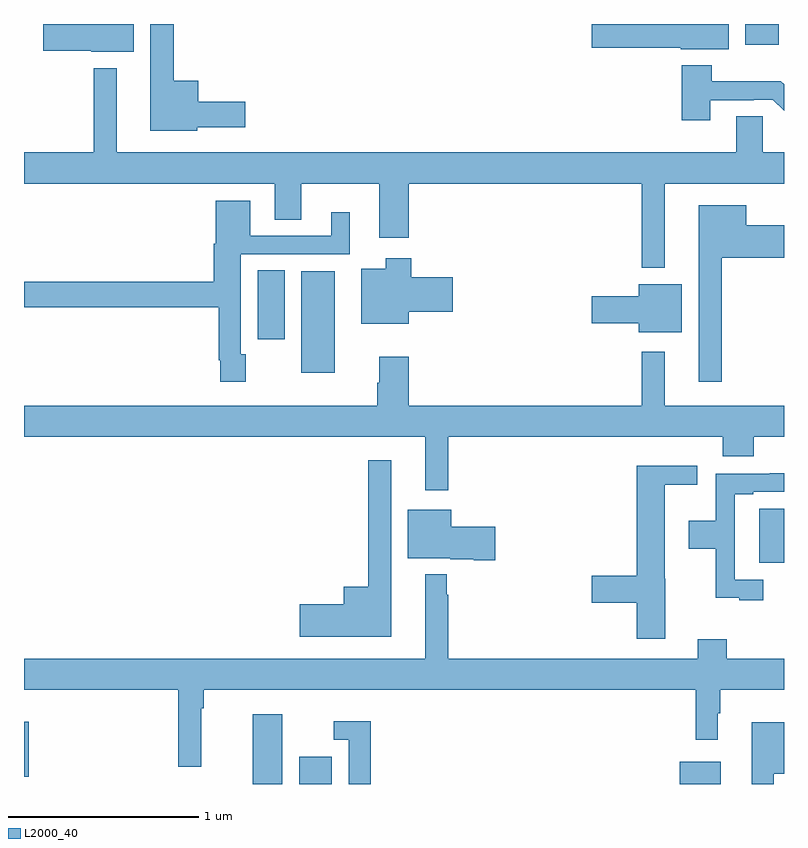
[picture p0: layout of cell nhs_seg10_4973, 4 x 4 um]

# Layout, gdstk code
import gdstk
lib = gdstk.Library(unit=1e-6, precision=1e-09)
def R(c, l, rs):  # rectangles x0, y0, x1, y1
    for r in rs: c.add(gdstk.rectangle(r[:2], r[2:], *l))
def P(c, l, *ps):  # polygons
    for p in ps: c.add(gdstk.Polygon(p, *l))
L2000_40 = (2000, 40)

nhs_seg10_4973 = lib.new_cell('nhs_seg10_4973')
R(nhs_seg10_4973, L2000_40, [(400.205,1286.5,400.36,1286.866), (400.448,1286.5,400.621,1286.644), (402.452,1286.5,402.667,1286.617), (399,1286.537,399.026,1286.827), (402.869,1287.665,403,1287.949), (400.46,1288.664,400.636,1289.2), (400.229,1288.842,400.372,1289.204), (402.795,1290.392,402.973,1290.5)])
P(nhs_seg10_4973, L2000_40, [(399.577,1290.5),(399.102,1290.5),(399.102,1290.359),(399.354,1290.359),(399.354,1290.353),(399.577,1290.353)],
  [(399.912,1289.957),(400.165,1289.957),(400.165,1290.092),(399.916,1290.092),(399.916,1290.202),(399.787,1290.202),(399.787,1290.5),(399.665,1290.5),(399.665,1289.939),(399.912,1289.939)],
  [(402.71,1290.5),(401.988,1290.5),(401.988,1290.374),(402.456,1290.374),(402.456,1290.368),(402.71,1290.368)],
  [(402.613,1290.099),(402.842,1290.099),(402.842,1290.102),(402.942,1290.102),(403,1290.044),(403,1290.182),(402.983,1290.199),(402.621,1290.199),(402.621,1290.283),(402.461,1290.283),(402.461,1289.994),(402.613,1289.994)],
  [(402.373,1289.66),(403,1289.66),(403,1289.824),(402.888,1289.824),(402.888,1290.014),(402.749,1290.014),(402.749,1289.824),(399.487,1289.824),(399.487,1290.268),(399.366,1290.268),(399.366,1289.824),(399,1289.824),(399,1289.66),(400.319,1289.66),(400.319,1289.47),(400.459,1289.47),(400.459,1289.66),(400.871,1289.66),(400.871,1289.376),(401.024,1289.376),(401.024,1289.66),(402.252,1289.66),(402.252,1289.216),(402.373,1289.216)],
  [(400.167,1288.761),(400.14,1288.761),(400.14,1289.289),(400.714,1289.289),(400.714,1289.509),(400.616,1289.509),(400.616,1289.385),(400.192,1289.385),(400.192,1289.569),(400.01,1289.569),(400.01,1289.343),(399.998,1289.343),(399.998,1289.144),(399,1289.144),(399,1289.008),(400.024,1289.008),(400.024,1288.729),(400.032,1288.729),(400.032,1288.617),(400.167,1288.617)],
  [(402.673,1289.27),(403,1289.27),(403,1289.44),(402.802,1289.44),(402.802,1289.545),(402.551,1289.545),(402.551,1288.617),(402.673,1288.617)],
  [(401.026,1288.985),(401.257,1288.985),(401.257,1289.168),(401.039,1289.168),(401.039,1289.266),(400.904,1289.266),(400.904,1289.212),(400.775,1289.212),(400.775,1288.922),(401.026,1288.922)],
  [(402.463,1289.131),(402.236,1289.131),(402.236,1289.066),(401.988,1289.066),(401.988,1288.924),(402.236,1288.924),(402.236,1288.877),(402.463,1288.877)],
  [(401.233,1288.328),(402.677,1288.328),(402.677,1288.226),(402.842,1288.226),(402.842,1288.328),(403,1288.328),(403,1288.492),(402.373,1288.492),(402.373,1288.774),(402.252,1288.774),(402.252,1288.492),(401.024,1288.492),(401.024,1288.75),(400.871,1288.75),(400.871,1288.613),(400.859,1288.613),(400.859,1288.492),(399,1288.492),(399,1288.328),(401.111,1288.328),(401.111,1288.047),(401.233,1288.047)],
  [(400.933,1288.204),(400.812,1288.204),(400.812,1287.538),(400.682,1287.538),(400.682,1287.446),(400.452,1287.446),(400.452,1287.275),(400.933,1287.275)],
  [(402.376,1287.579),(402.373,1287.579),(402.373,1288.076),(402.544,1288.076),(402.544,1288.174),(402.224,1288.174),(402.224,1287.596),(401.988,1287.596),(401.988,1287.454),(402.224,1287.454),(402.224,1287.264),(402.376,1287.264)],
  [(402.892,1287.576),(402.741,1287.576),(402.741,1288.026),(402.838,1288.026),(402.838,1288.038),(403,1288.038),(403,1288.136),(402.925,1288.136),(402.925,1288.134),(402.64,1288.134),(402.64,1287.886),(402.498,1287.886),(402.498,1287.739),(402.64,1287.739),(402.64,1287.479),(402.764,1287.479),(402.764,1287.468),(402.892,1287.468)],
  [(401.479,1287.855),(401.248,1287.855),(401.248,1287.943),(401.021,1287.943),(401.021,1287.689),(401.244,1287.689),(401.244,1287.683),(401.366,1287.683),(401.366,1287.677),(401.479,1287.677)],
  [(399.932,1286.9),(399.947,1286.9),(399.947,1286.996),(402.535,1286.996),(402.535,1286.733),(402.652,1286.733),(402.652,1286.873),(402.664,1286.873),(402.664,1286.996),(403,1286.996),(403,1287.16),(402.698,1287.16),(402.698,1287.262),(402.545,1287.262),(402.545,1287.16),(401.233,1287.16),(401.233,1287.497),(401.225,1287.497),(401.225,1287.604),(401.111,1287.604),(401.111,1287.16),(399,1287.16),(399,1286.996),(399.811,1286.996),(399.811,1286.592),(399.932,1286.592)],
  [(400.826,1286.83),(400.629,1286.83),(400.629,1286.733),(400.71,1286.733),(400.71,1286.5),(400.826,1286.5)],
  [(402.947,1286.555),(403,1286.555),(403,1286.824),(402.83,1286.824),(402.83,1286.5),(402.947,1286.5)])

lib.write_gds('nhs_seg10_4973.gds')
